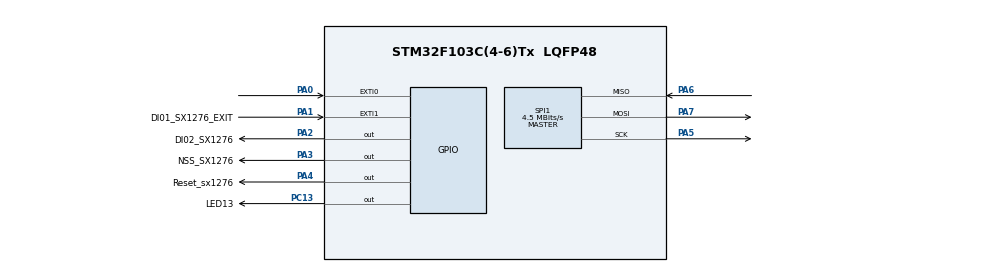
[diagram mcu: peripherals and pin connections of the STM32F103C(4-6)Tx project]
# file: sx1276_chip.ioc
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Dma.Request0=SPI1_RX
Dma.Request1=SPI1_TX
Dma.SPI1_RX.0.Direction=DMA_PERIPH_TO_MEMORY
Dma.SPI1_RX.0.Instance=DMA1_Channel2
Dma.SPI1_RX.0.MemDataAlignment=DMA_MDATAALIGN_BYTE
Dma.SPI1_RX.0.MemInc=DMA_MINC_ENABLE
Dma.SPI1_RX.0.Mode=DMA_NORMAL
Dma.SPI1_RX.0.PeriphDataAlignment=DMA_PDATAALIGN_BYTE
Dma.SPI1_RX.0.PeriphInc=DMA_PINC_DISABLE
Dma.SPI1_RX.0.Priority=DMA_PRIORITY_LOW
Dma.SPI1_TX.1.Direction=DMA_MEMORY_TO_PERIPH
Dma.SPI1_TX.1.Instance=DMA1_Channel3
Dma.SPI1_TX.1.MemDataAlignment=DMA_MDATAALIGN_BYTE
Dma.SPI1_TX.1.MemInc=DMA_MINC_ENABLE
Dma.SPI1_TX.1.Mode=DMA_NORMAL
Dma.SPI1_TX.1.PeriphDataAlignment=DMA_PDATAALIGN_BYTE
Dma.SPI1_TX.1.PeriphInc=DMA_PINC_DISABLE
Dma.SPI1_TX.1.Priority=DMA_PRIORITY_LOW
Mcu.Family=STM32F1
Mcu.Name=STM32F103C(4-6)Tx
Mcu.Package=LQFP48
NVIC.DMA1_Channel2_IRQn=true\:0\:0\:false\:false\:true\:false\:true
NVIC.DMA1_Channel3_IRQn=true\:0\:0\:false\:false\:true\:false\:true
NVIC.EXTI0_IRQn=true\:0\:0\:false\:false\:true\:true\:true
NVIC.EXTI1_IRQn=true\:0\:0\:false\:false\:true\:true\:true
NVIC.PriorityGroup=NVIC_PRIORITYGROUP_4
PA0-WKUP.GPIO_ModeDefaultEXTI=GPIO_MODE_IT_FALLING
PA0-WKUP.Signal=GPXTI0
PA1.GPIO_Label=DI01_SX1276_EXIT
PA1.Signal=GPXTI1
PA13.Mode=Trace_Asynchronous_SW
PA13.Signal=SYS_JTMS-SWDIO
PA14.Mode=Trace_Asynchronous_SW
PA14.Signal=SYS_JTCK-SWCLK
PA2.GPIO_Label=DI02_SX1276
PA2.Signal=GPIO_Output
PA3.GPIO_Label=NSS_SX1276
PA3.Signal=GPIO_Output
PA4.GPIO_Label=Reset_sx1276
PA4.Signal=GPIO_Output
PA5.Mode=Full_Duplex_Master
PA5.Signal=SPI1_SCK
PA6.Mode=Full_Duplex_Master
PA6.Signal=SPI1_MISO
PA7.Mode=Full_Duplex_Master
PA7.Signal=SPI1_MOSI
PB3.Mode=Trace_Asynchronous_SW
PB3.Signal=SYS_JTDO-TRACESWO
PC13-TAMPER-RTC.GPIO_Label=LED13
PC13-TAMPER-RTC.Signal=GPIO_Output
PD0-OSC_IN.Mode=HSE-External-Oscillator
PD0-OSC_IN.Signal=RCC_OSC_IN
PD1-OSC_OUT.Mode=HSE-External-Oscillator
PD1-OSC_OUT.Signal=RCC_OSC_OUT
ProjectManager.HeapSize=0x200
ProjectManager.StackSize=0x400
ProjectManager.TargetToolchain=MDK-ARM V5
RCC.AHBFreq_Value=72000000
RCC.APB1CLKDivider=RCC_HCLK_DIV2
RCC.APB1Freq_Value=36000000
RCC.APB1TimFreq_Value=72000000
RCC.APB2Freq_Value=72000000
RCC.APB2TimFreq_Value=72000000
RCC.HCLKFreq_Value=72000000
RCC.PLLMUL=RCC_PLL_MUL9
RCC.PLLSourceVirtual=RCC_PLLSOURCE_HSE
RCC.SYSCLKFreq_VALUE=72000000
RCC.SYSCLKSource=RCC_SYSCLKSOURCE_PLLCLK
RCC.USBFreq_Value=72000000
SPI1.BaudRatePrescaler=SPI_BAUDRATEPRESCALER_16
SPI1.CalculateBaudRate=4.5 MBits/s
SPI1.Direction=SPI_DIRECTION_2LINES
SPI1.Mode=SPI_MODE_MASTER
SPI1.VirtualType=VM_MASTER
board=custom

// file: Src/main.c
/* USER CODE BEGIN Header */
/**
  ******************************************************************************
  * @file           : main.c
  * @brief          : Main program body
  ******************************************************************************
  * @attention
  *
  * <h2><center>&copy; Copyright (c) 2022 STMicroelectronics.
  * All rights reserved.</center></h2>
  *
  * This software component is licensed by ST under BSD 3-Clause license,
  * the "License"; You may not use this file except in compliance with the
  * License. You may obtain a copy of the License at:
  *                        opensource.org/licenses/BSD-3-Clause
  *
  ******************************************************************************
  */
/* USER CODE END Header */

#include "main.h"
#include "dma.h"
#include "spi.h"
#include "gpio.h"

/* USER CODE BEGIN Includes */
#include "SX1276_77_78_79_control_v2.h"

/* USER CODE END Includes */

/* USER CODE BEGIN PTD */
#define TRANSMIT 1
/* USER CODE END PTD */

/* USER CODE BEGIN PM */

struct __FILE { int handle; /* Add whatever you need here */ };
FILE __stdout;
FILE __stdin;

int fputc(int ch, FILE *f) {
   if (DEMCR & TRCENA) {

while (ITM_Port32(0) == 0);
    ITM_Port8(0) = ch;
  }
  return(ch);
}

uint8_t RX_BUF[30]= {0,1,1,1};
uint8_t TX_BUF[16] = {0,1,2,3};
uint8_t i,Flag=0,rx_bytes,counter;
uint8_t buff_LORA_OUT;

SX1278_State_t SX1278_State;
/* USER CODE END PM */

void SystemClock_Config(void);

int main(void)
{

  /* MCU Configuration--------------------------------------------------------*/

  /* Reset of all peripherals, Initializes the Flash interface and the Systick. */

  LL_APB2_GRP1_EnableClock(LL_APB2_GRP1_PERIPH_AFIO);
  LL_APB1_GRP1_EnableClock(LL_APB1_GRP1_PERIPH_PWR);

  NVIC_SetPriorityGrouping(NVIC_PRIORITYGROUP_4);

  /* System interrupt init*/

  /** NOJTAG: JTAG-DP Disabled and SW-DP Enabled
  */
  LL_GPIO_AF_Remap_SWJ_NOJTAG();

  /* Configure the system clock */
  SystemClock_Config();

  /* USER CODE BEGIN SysInit */
	SX1278_State.NodeAddress = 0x1;
	SX1278_State.BroadcastAddress = 0x0;
	SX1278_State.PacketPayloadSize = 0x9;

  /* USER CODE END SysInit */

  /* Initialize all configured peripherals */
  MX_GPIO_Init();
  MX_DMA_Init();
  MX_SPI1_Init();
  /* USER CODE BEGIN 2 */
	DMA_USER_INIT();
	SPI1_USER_INIT();
  /* USER CODE END 2 */

  /* Infinite loop */
  /* USER CODE BEGIN WHILE */

SX1276_77_78_79_Reset();
SX1276_77_78_79_LORA_Init(SX1278_State.NodeAddress,SX1278_State.BroadcastAddress, SX1278_State.PacketPayloadSize, 868, 6);
	if(TRANSMIT == 0){
		SX1276_77_78_79_setReceivingBuffer(RX_BUF);
		SX1276_77_78_79_readFifoCallback();

	}

  while (1)
  {
    /* USER CODE END WHILE */

    /* USER CODE BEGIN 3 */
	if(TRANSMIT == 1){
	readRegOpMode();
	SX1276_77_78_79_sendData(TX_BUF, 9);
	LL_mDelay(10);
	LL_mDelay(100);
	printf("hello\n");
	TX_BUF[2] = TX_BUF[2]++;
	}
  }

  /* USER CODE END 3 */
}

void SystemClock_Config(void)
{
  LL_FLASH_SetLatency(LL_FLASH_LATENCY_2);

   if(LL_FLASH_GetLatency() != LL_FLASH_LATENCY_2)
  {
    Error_Handler();
  }
  LL_RCC_HSE_Enable();

   /* Wait till HSE is ready */
  while(LL_RCC_HSE_IsReady() != 1)
  {

  }
  LL_RCC_PLL_ConfigDomain_SYS(LL_RCC_PLLSOURCE_HSE_DIV_1, LL_RCC_PLL_MUL_9);
  LL_RCC_PLL_Enable();

   /* Wait till PLL is ready */
  while(LL_RCC_PLL_IsReady() != 1)
  {

  }
  LL_RCC_SetAHBPrescaler(LL_RCC_SYSCLK_DIV_1);
  LL_RCC_SetAPB1Prescaler(LL_RCC_APB1_DIV_2);
  LL_RCC_SetAPB2Prescaler(LL_RCC_APB2_DIV_1);
  LL_RCC_SetSysClkSource(LL_RCC_SYS_CLKSOURCE_PLL);

   /* Wait till System clock is ready */
  while(LL_RCC_GetSysClkSource() != LL_RCC_SYS_CLKSOURCE_STATUS_PLL)
  {

  }
  LL_Init1msTick(72000000);
  LL_SetSystemCoreClock(72000000);
}

void Error_Handler(void)
{
}

/************************ (C) COPYRIGHT STMicroelectronics *****END OF FILE****/
